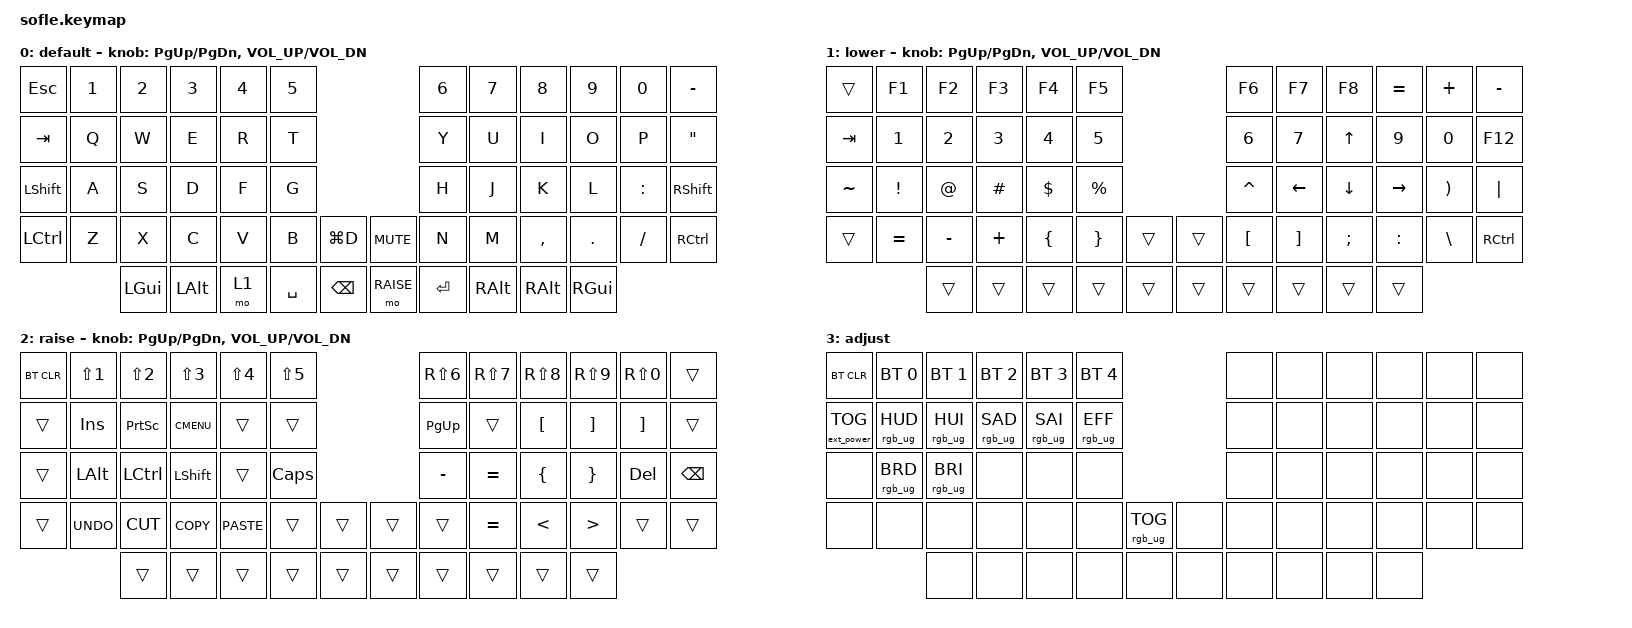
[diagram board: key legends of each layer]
/*
 * Copyright (c) 2020 The ZMK Contributors
 *
 * SPDX-License-Identifier: MIT
 */

#include <behaviors.dtsi>
#include <dt-bindings/zmk/bt.h>
#include <dt-bindings/zmk/ext_power.h>
#include <dt-bindings/zmk/keys.h>
#include <dt-bindings/zmk/rgb.h>

#define BASE 0
#define LOWER 1
#define RAISE 2
#define ADJUST 3

/ {
    // Activate ADJUST layer by pressing raise and lower

    conditional_layers {
        compatible = "zmk,conditional-layers";

        adjust_layer {
            if-layers = <LOWER RAISE>;
            then-layer = <ADJUST>;
        };
    };

    combos {
        compatible = "zmk,combos";

        meetsmute {
            bindings = <&kp LG(D)>;
            key-positions = <42>;
        };

        colon {
            bindings = <&kp RS(SEMICOLON)>;
            key-positions = <35 34>;
        };
    };

    keymap {
        compatible = "zmk,keymap";

        base {
            display-name = "default";

            // ------------------------------------------------------------------------------------------------------------
            // |   `   |  1  |  2  |  3   |  4   |  5   |                   |  6   |  7    |  8    |  9   |   0   |       |
            // |  ESC  |  Q  |  W  |  E   |  R   |  T   |                   |  Y   |  U    |  I    |  O   |   P   | BKSPC |
            // |  TAB  |  A  |  S  |  D   |  F   |  G   |                   |  H   |  J    |  K    |  L   |   ;   |   '   |
            // | SHIFT |  Z  |  X  |  C   |  V   |  B   |  MUTE  |  |       |  N   |  M    |  ,    |  .   |   /   | SHIFT |
            //               | GUI | ALT  | CTRL | LOWER|  ENTER |  | SPACE | RAISE| CTRL  | ALT   | GUI  |

            bindings = <
&kp ESCAPE        &kp N1  &kp N2    &kp N3        &kp N4  &kp N5                                  &kp N6   &kp N7         &kp N8     &kp N9    &kp N0     &kp MINUS
&kp TAB           &kp Q   &kp W     &kp E         &kp R   &kp T                                   &kp Y    &kp U          &kp I      &kp O     &kp P      &kp DOUBLE_QUOTES
&kp LEFT_SHIFT    &kp A   &kp S     &kp D         &kp F   &kp G                                   &kp H    &kp J          &kp K      &kp L     &kp COLON  &kp RIGHT_SHIFT
&kp LEFT_CONTROL  &kp Z   &kp X     &kp C         &kp V   &kp B      &kp LG(D)        &kp C_MUTE  &kp N    &kp M          &kp COMMA  &kp DOT   &kp FSLH   &kp RIGHT_CONTROL
                          &kp LGUI  &kp LEFT_ALT  &mo 1   &kp SPACE  &kp BACKSPACE    &mo RAISE   &kp RET  &kp RIGHT_ALT  &kp RALT   &kp RGUI
            >;

            sensor-bindings =
                <&inc_dec_kp PAGE_UP PAGE_DOWN>,
                <&inc_dec_kp C_VOL_UP C_VOL_DN>;
        };

        nav {
            display-name = "lower";

            // TODO: Some binds are waiting for shifted keycode support.
            // ------------------------------------------------------------------------------------------------------------
            // |       |  F1 |  F2 |  F3  |  F4  |  F5  |                   |  F6  |  F7   |  F8   |  F9  |  F10  |  F11  |
            // |   `   |  1  |  2  |  3   |  4   |  5   |                   |  6   |  7    |  8    |  9   |   0   |  F12  |
            // |       |  !  |  @  |  #   |  $   |  %   |                   |  ^   |  &    |  *    |  (   |   )   |   |   |
            // |       |  =  |  -  |  +   |  {   |  }   |        |  |       |  [   |  ]    |  ;    |  :   |   \   |       |
            //               |     |      |      |      |        |  |       |      |       |       |      |

            bindings = <
&trans     &kp F1     &kp F2     &kp F3    &kp F4    &kp F5                       &kp F6     &kp F7          &kp F8          &kp EQUAL  &kp PLUS  &kp MINUS
&kp TAB    &kp N1     &kp N2     &kp N3    &kp N4    &kp N5                       &kp N6     &kp N7          &kp UP_ARROW    &kp N9     &kp N0    &kp F12
&kp TILDE  &kp EXCL   &kp AT     &kp HASH  &kp DLLR  &kp PRCNT                    &kp CARET  &kp LEFT_ARROW  &kp DOWN_ARROW  &kp RIGHT  &kp RPAR  &kp PIPE
&trans     &kp EQUAL  &kp MINUS  &kp PLUS  &kp LBRC  &kp RBRC   &trans    &trans  &kp LBKT   &kp RBKT        &kp SEMI        &kp COLON  &kp BSLH  &kp RCTRL
                      &trans     &trans    &trans    &trans     &trans    &trans  &trans     &trans          &trans          &trans
            >;

            sensor-bindings = <&inc_dec_kp PG_UP PG_DN &inc_dec_kp C_VOL_UP C_VOL_DN>;
        };

        symbol {
            display-name = "raise";

            // ------------------------------------------------------------------------------------------------------------
            // | BTCLR | BT1  | BT2  |  BT3  |  BT4  |  BT5 |                |      |      |       |      |       |       |
            // |       | INS  | PSCR | GUI   |       |      |                | PGUP |      |   ^   |      |       |       |
            // |       | ALT  | CTRL | SHIFT |       | CAPS |                | PGDN |   <- |   v   |  ->  |  DEL  | BKSPC |
            // |       | UNDO | CUT  | COPY  | PASTE |      |      |  |      |      |      |       |      |       |       |
            //                |      |       |       |      |      |  |      |      |      |       |      |

            bindings = <
&bt BT_CLR  &kp LS(NUMBER_1)  &kp LS(NUMBER_2)  &kp LS(NUMBER_3)  &kp LS(NUMBER_4)  &kp LS(N5)                    &kp RS(NUMBER_6)  &kp RS(N7)  &kp RS(N8)        &kp RS(N9)         &kp RS(N0)         &trans
&trans      &kp INS           &kp PSCRN         &kp K_CMENU       &trans            &trans                        &kp PG_UP         &trans      &kp LEFT_BRACKET  &kp RIGHT_BRACKET  &kp RIGHT_BRACKET  &trans
&trans      &kp LALT          &kp LCTRL         &kp LSHFT         &trans            &kp CLCK                      &kp MINUS         &kp EQUAL   &kp LEFT_BRACE    &kp RIGHT_BRACE    &kp DEL            &kp BSPC
&trans      &kp K_UNDO        &kp K_CUT         &kp K_COPY        &kp K_PASTE       &trans      &trans    &trans  &trans            &kp EQUAL   &kp LESS_THAN     &kp GREATER_THAN   &trans             &trans
                              &trans            &trans            &trans            &trans      &trans    &trans  &trans            &trans      &trans            &trans
            >;

            sensor-bindings = <&inc_dec_kp PG_UP PG_DN &inc_dec_kp C_VOL_UP C_VOL_DN>;
        };

        adjust_layer {
            // ----------------------------------------------------------------------------------------------------------------------------
            // | BTCLR  |  BT1    |  BT2    |   BT3   |   BT4   |   BT5   |                  |      |      |       |      |       |       |
            // | EXTPWR | RGB_HUD | RGB_HUI | RGB_SAD | RGB_SAI | RGB_EFF |                  |      |      |       |      |       |       |
            // |        | RGB_BRD | RGB_BRI |         |         |         |                  |      |      |       |      |       |       |
            // |        |         |         |         |         |         | RGB_TOG | |      |      |      |       |      |       |       |
            //                    |         |         |         |         |         | |      |      |      |       |      |

            display-name = "adjust";
            bindings = <
&bt BT_CLR         &bt BT_SEL 0     &bt BT_SEL 1     &bt BT_SEL 2     &bt BT_SEL 3     &bt BT_SEL 4                               &none  &none  &none  &none  &none  &none
&ext_power EP_TOG  &rgb_ug RGB_HUD  &rgb_ug RGB_HUI  &rgb_ug RGB_SAD  &rgb_ug RGB_SAI  &rgb_ug RGB_EFF                            &none  &none  &none  &none  &none  &none
&none              &rgb_ug RGB_BRD  &rgb_ug RGB_BRI  &none            &none            &none                                      &none  &none  &none  &none  &none  &none
&none              &none            &none            &none            &none            &none            &rgb_ug RGB_TOG    &none  &none  &none  &none  &none  &none  &none
                                    &none            &none            &none            &none            &none              &none  &none  &none  &none  &none
            >;
        };
    };
};
